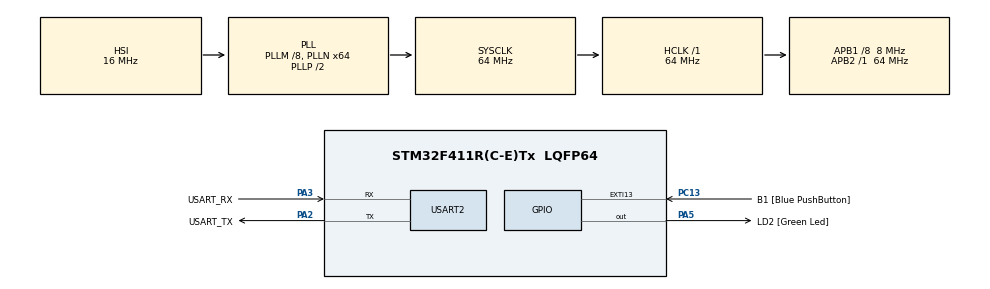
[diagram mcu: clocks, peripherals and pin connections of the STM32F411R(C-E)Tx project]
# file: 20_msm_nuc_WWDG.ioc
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Mcu.Family=STM32F4
Mcu.Name=STM32F411R(C-E)Tx
Mcu.Package=LQFP64
NVIC.PriorityGroup=NVIC_PRIORITYGROUP_0
NVIC.WWDG_IRQn=true\:0\:0\:false\:true\:true\:1\:true\:true
PA13.GPIO_Label=TMS
PA13.Mode=Serial_Wire
PA13.Signal=SYS_JTMS-SWDIO
PA14.GPIO_Label=TCK
PA14.Mode=Serial_Wire
PA14.Signal=SYS_JTCK-SWCLK
PA2.GPIO_Label=USART_TX
PA2.Mode=Asynchronous
PA2.Signal=USART2_TX
PA3.GPIO_Label=USART_RX
PA3.Mode=Asynchronous
PA3.Signal=USART2_RX
PA5.GPIO_Label=LD2 [Green Led]
PA5.Signal=GPIO_Output
PB3.GPIO_Label=SWO
PB3.Signal=SYS_JTDO-SWO
PC13-ANTI_TAMP.GPIO_Label=B1 [Blue PushButton]
PC13-ANTI_TAMP.GPIO_ModeDefaultEXTI=GPIO_MODE_IT_FALLING
PC13-ANTI_TAMP.Signal=GPXTI13
PC14-OSC32_IN.Mode=LSE-External-Oscillator
PC14-OSC32_IN.Signal=RCC_OSC32_IN
PC15-OSC32_OUT.Mode=LSE-External-Oscillator
PC15-OSC32_OUT.Signal=RCC_OSC32_OUT
PH0\ -\ OSC_IN.Mode=HSE-External-Clock-Source
PH0\ -\ OSC_IN.Signal=RCC_OSC_IN
PH1\ -\ OSC_OUT.Mode=HSE-External-Clock-Source
PH1\ -\ OSC_OUT.Signal=RCC_OSC_OUT
ProjectManager.HeapSize=0x200
ProjectManager.StackSize=0x400
ProjectManager.TargetToolchain=STM32CubeIDE
RCC.48MHZClocksFreq_Value=32000000
RCC.AHBFreq_Value=64000000
RCC.APB1CLKDivider=RCC_HCLK_DIV8
RCC.APB1Freq_Value=8000000
RCC.APB1TimFreq_Value=16000000
RCC.APB2Freq_Value=64000000
RCC.APB2TimFreq_Value=64000000
RCC.CortexFreq_Value=64000000
RCC.FLatency-AdvancedSettings=FLASH_LATENCY_2
RCC.HCLKFreq_Value=64000000
RCC.HSE_VALUE=8000000
RCC.HSI_VALUE=16000000
RCC.PLLM=8
RCC.PLLN=64
RCC.SYSCLKFreq_VALUE=64000000
RCC.SYSCLKSource=RCC_SYSCLKSOURCE_PLLCLK
RCC.VCOOutputFreq_Value=128000000
USART2.VirtualMode=VM_ASYNC
VP_WWDG_VS_WWDG.Mode=WWDG_Activate
WWDG.Counter=127
WWDG.EWIMode=WWDG_EWI_ENABLE
WWDG.Prescaler=WWDG_PRESCALER_8
WWDG.Window=80
board=NUCLEO-F411RE

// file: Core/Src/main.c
/* USER CODE BEGIN Header */
/**
  ******************************************************************************
  * @file           : main.c
  * @brief          : Main program body
  ******************************************************************************
  * @attention
  *
  * <h2><center>&copy; Copyright (c) 2021 STMicroelectronics.
  * All rights reserved.</center></h2>
  *
  * This software component is licensed by ST under BSD 3-Clause license,
  * the "License"; You may not use this file except in compliance with the
  * License. You may obtain a copy of the License at:
  *                        opensource.org/licenses/BSD-3-Clause
  *
  ******************************************************************************
  */
/* USER CODE END Header */
#include "main.h"
#include "usart.h"
#include "wwdg.h"
#include "gpio.h"

/* USER CODE BEGIN Includes */
#include "string.h"
#include "stdio.h"
/* USER CODE END Includes */

void SystemClock_Config(void);
static void MX_NVIC_Init(void);
/* USER CODE BEGIN PFP */
 void SendUart(UART_HandleTypeDef *huart, uint8_t *Message);
/* USER CODE END PFP */

int main(void)
{

  /* MCU Configuration--------------------------------------------------------*/

  /* Reset of all peripherals, Initializes the Flash interface and the Systick. */
  HAL_Init();

  /* Configure the system clock */
  SystemClock_Config();

  /* Initialize all configured peripherals */
  MX_GPIO_Init();
  MX_USART2_UART_Init();
  MX_WWDG_Init();

  /* Initialize interrupts */
  MX_NVIC_Init();
  /* USER CODE BEGIN 2 */
  if(__HAL_RCC_GET_FLAG(RCC_FLAG_WWDGRST) != RESET)
  {
	  SendUart(&huart2, "!!! WWDG RESET !!!\n\r");

	  __HAL_RCC_CLEAR_RESET_FLAGS();
  }
  else
  {
	  SendUart(&huart2, "!!! Normal RESET !!!\n\r");
  }

  /* USER CODE END 2 */

  /* Infinite loop */
  /* USER CODE BEGIN WHILE */
  while (1)
  {

	  HAL_Delay(240);
	  if(HAL_WWDG_Refresh(&hwwdg) != HAL_OK) // karmienie watchdoga
	  {
		  Error_Handler();
	  }

	  if(!HAL_GPIO_ReadPin(B1_GPIO_Port, B1_Pin))
	  {
		  while(!HAL_GPIO_ReadPin(B1_GPIO_Port, B1_Pin))
		  {

		  }
	  }

    /* USER CODE END WHILE */

  }
}

void SystemClock_Config(void)
{
  RCC_OscInitTypeDef RCC_OscInitStruct = {0};
  RCC_ClkInitTypeDef RCC_ClkInitStruct = {0};

  /** Configure the main internal regulator output voltage
  */
  __HAL_RCC_PWR_CLK_ENABLE();
  __HAL_PWR_VOLTAGESCALING_CONFIG(PWR_REGULATOR_VOLTAGE_SCALE1);
  /** Initializes the RCC Oscillators according to the specified parameters
  * in the RCC_OscInitTypeDef structure.
  */
  RCC_OscInitStruct.OscillatorType = RCC_OSCILLATORTYPE_HSI;
  RCC_OscInitStruct.HSIState = RCC_HSI_ON;
  RCC_OscInitStruct.HSICalibrationValue = RCC_HSICALIBRATION_DEFAULT;
  RCC_OscInitStruct.PLL.PLLState = RCC_PLL_ON;
  RCC_OscInitStruct.PLL.PLLSource = RCC_PLLSOURCE_HSI;
  RCC_OscInitStruct.PLL.PLLM = 8;
  RCC_OscInitStruct.PLL.PLLN = 64;
  RCC_OscInitStruct.PLL.PLLP = RCC_PLLP_DIV2;
  RCC_OscInitStruct.PLL.PLLQ = 4;
  if (HAL_RCC_OscConfig(&RCC_OscInitStruct) != HAL_OK)
  {
    Error_Handler();
  }
  /** Initializes the CPU, AHB and APB buses clocks
  */
  RCC_ClkInitStruct.ClockType = RCC_CLOCKTYPE_HCLK|RCC_CLOCKTYPE_SYSCLK
                              |RCC_CLOCKTYPE_PCLK1|RCC_CLOCKTYPE_PCLK2;
  RCC_ClkInitStruct.SYSCLKSource = RCC_SYSCLKSOURCE_PLLCLK;
  RCC_ClkInitStruct.AHBCLKDivider = RCC_SYSCLK_DIV1;
  RCC_ClkInitStruct.APB1CLKDivider = RCC_HCLK_DIV8;
  RCC_ClkInitStruct.APB2CLKDivider = RCC_HCLK_DIV1;

  if (HAL_RCC_ClockConfig(&RCC_ClkInitStruct, FLASH_LATENCY_2) != HAL_OK)
  {
    Error_Handler();
  }
}

/**
  * @brief NVIC Configuration.
  * @retval None
  */
static void MX_NVIC_Init(void)
{
  /* WWDG_IRQn interrupt configuration */
  HAL_NVIC_SetPriority(WWDG_IRQn, 0, 0);
  HAL_NVIC_EnableIRQ(WWDG_IRQn);
}

/* USER CODE BEGIN 4 */
void SendUart(UART_HandleTypeDef *huart, uint8_t *Message)
{
	HAL_UART_Transmit(huart, Message, strlen((const char*)Message), 1000);
}

void HAL_WWDG_EarlyWakeupCallback(WWDG_HandleTypeDef *hwwdg)
{
	SendUart(&huart2, "=== EWI WWDG ===\n\r");
}
/* USER CODE END 4 */

void Error_Handler(void)
{
  __disable_irq();
  while (1)
  {
  }
}

/************************ (C) COPYRIGHT STMicroelectronics *****END OF FILE****/
